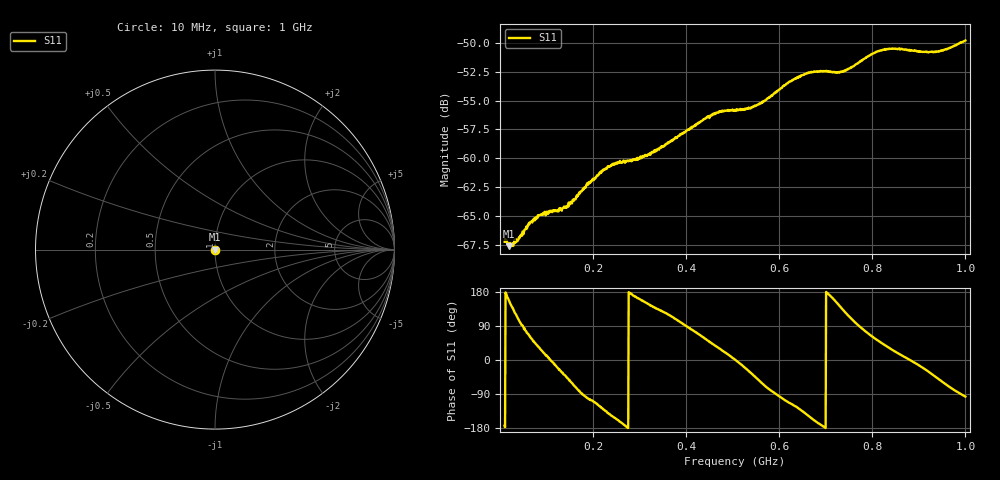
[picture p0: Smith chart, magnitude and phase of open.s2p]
! PocketVna 1.57  pocketvna.com
! Live measurements ((Reflection-S11) Linear 10000000-1000000000/1000 non-calibrated)
# Hz S RI R 50
! Hz  ReS11  ImS11  ReS21  ImS21  ReS12  ImS12  ReS22  ImS22
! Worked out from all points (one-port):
!   1000 points, 10 MHz to 1 GHz, reference 50 ohm
!   lowest |S11| = -67.6 dB at 19.91 MHz (marker M1), VSWR 1.00, Z = 50 + j0.0172 ohm
!   |S11| at or under -10 dB: start of sweep to end of sweep
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1e7  -0.000432 -5.2e-05  0 0  0 0  0 0
1.990991e7  -0.000379 0.000172  0 0  0 0  0 0
3.774775e7  -0.000161 0.000407  0 0  0 0  0 0
6.351351e7  0.000238 0.000462  0 0  0 0  0 0
8.135135e7  0.000456 0.000336  0 0  0 0  0 0
1.418018e8  0.000446 -0.000428  0 0  0 0  0 0
1.754955e8  2.85e-05 -0.000719  0 0  0 0  0 0
2.181081e8  -0.000517 -0.000705  0 0  0 0  0 0
2.369369e8  -0.000752 -0.00054  0 0  0 0  0 0
2.954054e8  -0.000961 0.000292  0 0  0 0  0 0
3.40991e8  -0.000744 0.0008  0 0  0 0  0 0
4.440541e8  0.000892 0.0012  0 0  0 0  0 0
4.757658e8  0.00143 0.000724  0 0  0 0  0 0
5.054955e8  0.00162 1.22e-05  0 0  0 0  0 0
5.530631e8  0.0011 -0.0013  0 0  0 0  0 0
6.244144e8  -0.000908 -0.00195  0 0  0 0  0 0
6.70991e8  -0.00214 -0.000983  0 0  0 0  0 0
7.373874e8  -0.00158 0.00176  0 0  0 0  0 0
8.037838e8  0.00149 0.00243  0 0  0 0  0 0
8.354955e8  0.00251 0.00158  0 0  0 0  0 0
9.375676e8  0.00203 -0.00207  0 0  0 0  0 0
1e9  -0.000368 -0.00322  0 0  0 0  0 0
